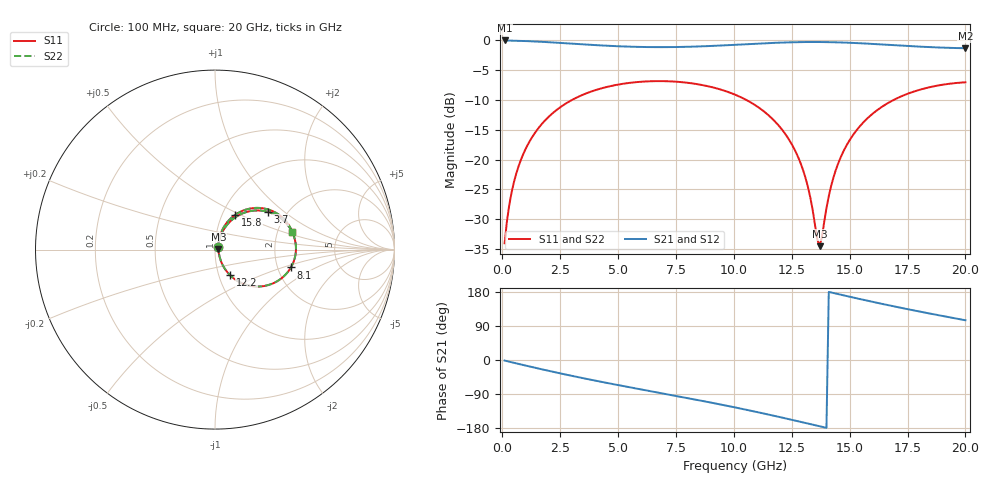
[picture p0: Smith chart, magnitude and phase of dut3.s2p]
! Touchstone file exported from HFSS 2026.1.0
!  File:  C:/ffzhzh/LocalFiles/Ansys_Project_Files/temp_train_TSV_RDL_3_1782959907_15332.aedt
!  Generated:  10:53:12 AM Jul  2, 2026
!  Design:  TSV_RDL
!  Project:  temp_train_TSV_RDL_3_1782959907_15332
! Variables:
!  h_bsmrdl = 6um
!  h_ox = 20um
!  h_rdl = 5um
!  h_sub = 91.3um
!  h_tmrdl = 4um
!  h_tsv = 91.3um
!  h_via = 3um
!  l_bsmrdl = 311.63um
!  l_sub = 4209.04um
!  l_tmrdl = 682.08um
!  m_sub = 200um
!  pitch = 46.38um
!  r_tsv = 7.03um
!  s_tmrdl = 10um
!  w_bsmrdl = 25.07um
!  w_sub = 500um
!  w_tmrdl = 23.54um
!  x_tsv_center1 = 693.85um
!  x_tsv_center2 = 1030.55um
!  x_tsv_center3 = 1736.17um
!  x_tsv_center4 = 2072.87um
!  x_tsv_center5 = 2778.49um
!  x_tsv_center6 = 3115.19um
# GHz S MA R 50.000000
! Terminal data exported
! Port[1] = TM_RDL1_1_T1
! Port[2] = TM_RDL5_1_T1
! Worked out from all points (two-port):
!   200 points, 100 MHz to 20 GHz, reference 50 ohm
!   highest |S21| = -0.13 dB at 100 MHz (marker M1); lowest = -1.4 dB at 20 GHz (marker M2)
!   |S21| within 3 dB of the highest: start of sweep to end of sweep
!   lowest |S11| = -34.5 dB at 13.7 GHz (marker M3), VSWR 1.04, Z = 51.9 + j0.171 ohm
!   |S11| at or under -10 dB: start of sweep to 3.039 GHz; 10.51 GHz to 16.93 GHz (6.422 GHz wide, 46.8 % of centre)
!   |S22| runs from -34.2 to -6.9 dB; largest |S21 - S12| = 3.4e-14
!   S11 on the Smith chart (normalised r, x): 100 MHz: 1.03, +0.03; 3.7 GHz: 1.60, +0.77; 8.1 GHz: 2.37, -0.58; 12.2 GHz: 1.13, -0.33; 15.8 GHz: 1.15, +0.47; 20 GHz: 2.40, +0.60
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0.1  0.02001 40.6  0.9851 -1.5  0.9851 -1.5  0.02001 40.6
! Gamma 0 0 0 0
! Port Impedance 50 0 50 0
0.3  0.04162 62.2  0.9828 -4.5  0.9828 -4.5  0.04162 62.2
0.5  0.06447 67.0  0.9807 -7.4  0.9807 -7.4  0.06447 67.0
1.1  0.1329 65.8  0.9722 -16.0  0.9722 -16.0  0.1329 65.8
2.1  0.2365 54.9  0.9502 -29.9  0.9502 -29.9  0.2365 54.9
3.5  0.3485 38.1  0.9134 -48.1  0.9134 -48.1  0.3485 38.1
3.7  0.361 35.7  0.9084 -50.6  0.9084 -50.6  0.361 35.8
6.8  0.4512 1.0  0.8661 -86.8  0.8661 -86.8  0.4512 1.1
8.1  0.4345 -13.2  0.8731 -101.6  0.8731 -101.6  0.4345 -13.2
10.1  0.3447 -35.9  0.9071 -125.7  0.9071 -125.7  0.3447 -35.8
11.3  0.252 -49.9  0.9323 -141.3  0.9323 -141.3  0.252 -49.8
12.2  0.1655 -59.6  0.9475 -153.6  0.9475 -153.6  0.1656 -59.4
12.9  0.09135 -63.8  0.9546 -163.4  0.9546 -163.4  0.09146 -63.4
13.4  0.03838 -53.1  0.9564 -170.5  0.9564 -170.5  0.03867 -52.2
13.7  0.01893 5.0  0.956 -174.7  0.956 -174.7  0.01957 5.0
14.1  0.04949 65.2  0.9537 179.6  0.9537 179.6  0.04976 64.6
14.5  0.09212 70.4  0.9497 173.9  0.9497 173.9  0.09228 70.0
15.1  0.1553 67.1  0.9405 165.6  0.9405 165.6  0.1554 66.9
15.8  0.2236 60.0  0.9263 156.0  0.9263 156.0  0.2237 59.8
16.7  0.2993 49.8  0.905 144.2  0.905 144.2  0.2993 49.7
18.3  0.3947 31.6  0.8696 124.5  0.8696 124.5  0.3948 31.6
20  0.4409 13.2  0.8486 104.9  0.8486 104.9  0.441 13.1
